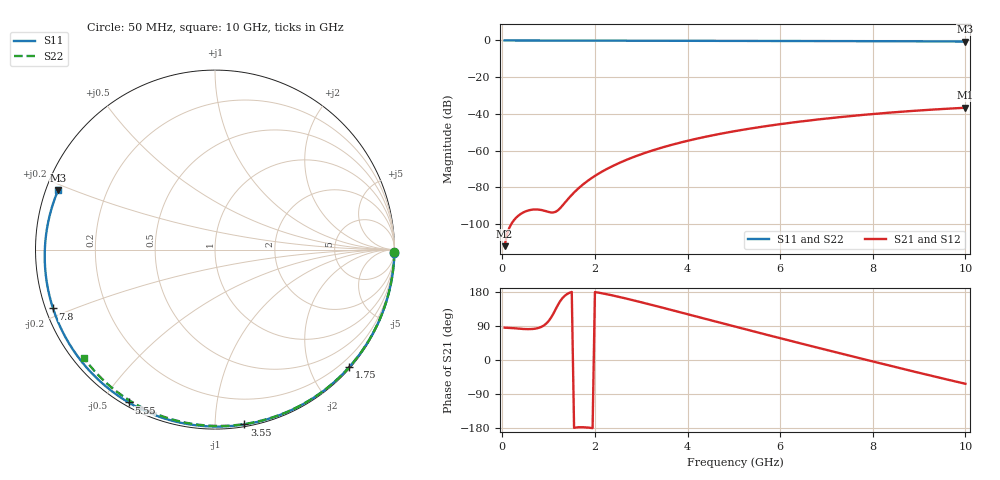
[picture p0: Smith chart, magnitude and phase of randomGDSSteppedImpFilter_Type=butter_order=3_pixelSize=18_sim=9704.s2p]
! freq	dB(S11)	phase(S11)	dB(S12)	phase(S12)
!  dB(S21)	phase(S21)	dB(S22)	phase(S22)
!S-par simulation data
#  GHz  S  DB  R 50
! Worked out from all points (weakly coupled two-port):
!   200 points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, 50 MHz to 10 GHz, reference 50 ohm
!   highest |S21| = -36.69 dB at 10 GHz (marker M1); lowest = -112.2 dB at 50 MHz (marker M2)
!   lowest |S11| = -0.6 dB at 10 GHz (marker M3), VSWR 29.60, Z = 1.75 + j9.18 ohm
!   |S11| at or under -10 dB: nowhere
!   |S22| runs from -0.5 to 0.0 dB; largest |S21 - S12| = 0
!   S11 on the Smith chart (normalised r, x): 50 MHz: 0, -97; 1.75 GHz: 0.02, -2.65; 3.55 GHz: 0.01, -1.18; 5.55 GHz: 0.01, -0.58; 7.8 GHz: 0.02, -0.18; 10 GHz: 0.03, +0.18
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0.05  -0.00 -1.2  -112.16 85.3  -112.16 85.3  -0.00 -0.8
0.4  -0.01 -9.6  -94.55 82.3  -94.55 82.3  -0.01 -6.5
0.8  -0.02 -19.1  -92.26 85.3  -92.26 85.3  -0.02 -12.9
1.2  -0.04 -28.6  -92.63 145.0  -92.63 145.0  -0.02 -19.4
1.65  -0.05 -39.0  -80.50 -177.5  -80.50 -177.5  -0.03 -26.5
1.7  -0.05 -40.1  -79.41 -177.3  -79.41 -177.3  -0.03 -27.3
1.75  -0.05 -41.3  -78.37 -177.5  -78.37 -177.5  -0.04 -28.1
2.05  -0.06 -48.1  -73.06 178.3  -73.06 178.3  -0.04 -32.8
2.45  -0.07 -57.0  -67.66 168.5  -67.66 168.5  -0.05 -39.0
2.9  -0.09 -66.8  -62.94 155.4  -62.94 155.4  -0.06 -45.9
3.4  -0.10 -77.4  -58.76 140.0  -58.76 140.0  -0.07 -53.4
3.55  -0.11 -80.5  -57.66 135.2  -57.66 135.2  -0.07 -55.6
4.3  -0.13 -95.6  -52.99 111.3  -52.99 111.3  -0.09 -66.5
5.05  -0.17 -110.1  -49.31 87.4  -49.31 87.4  -0.12 -77.1
5.55  -0.19 -119.5  -47.26 71.6  -47.26 71.6  -0.14 -84.0
6.15  -0.23 -130.5  -45.13 52.9  -45.13 52.9  -0.16 -92.1
6.7  -0.26 -140.4  -43.42 35.8  -43.42 35.8  -0.19 -99.3
7.25  -0.31 -150.2  -41.91 19.0  -41.91 19.0  -0.22 -106.4
7.8  -0.35 -160.0  -40.57 2.2  -40.57 2.2  -0.26 -113.4
8.35  -0.41 -169.9  -39.38 -14.4  -39.38 -14.4  -0.31 -120.2
9.2  -0.50 174.5  -37.84 -39.7  -37.84 -39.7  -0.38 -130.7
10  -0.59 159.2  -36.69 -62.7  -36.69 -62.7  -0.47 -140.5
